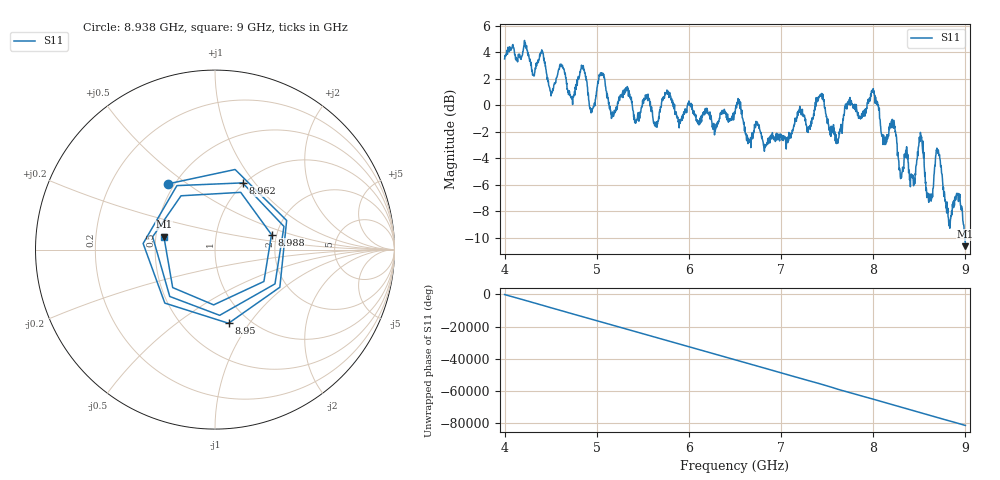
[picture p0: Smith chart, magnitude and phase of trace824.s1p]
! Created with skrf 1.8.0 (http://scikit-rf.org).
# Hz S RI R 50.0
!freq ReS11 ImS11
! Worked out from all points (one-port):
!   1601 points, 4 GHz to 9 GHz, reference 50 ohm
!   lowest |S11| = -10.6 dB at 9 GHz (marker M1), VSWR 1.83, Z = 27.6 + j4.31 ohm
!   |S11| at or under -10 dB: 8.992554 GHz to 8.996798 GHz (4.244 MHz wide, 0.0472 % of centre); 8.997074 GHz to end of sweep
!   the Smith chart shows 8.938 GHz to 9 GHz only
!   S11 on the Smith chart (normalised r, x): 8.938 GHz: 0.46, +0.43; 8.95 GHz: 0.81, -0.80; 8.962 GHz: 0.98, +0.87; 8.988 GHz: 1.88, +0.35; 9 GHz: 0.55, +0.09
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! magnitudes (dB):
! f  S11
! 4 GHz  3.5
! 4.403 GHz  4.2
! 4.506 GHz  1.0
! 4.625 GHz  3.0
! 4.731 GHz  0.5
! 4.85 GHz  2.9
! 4.944 GHz  -0.6
! 5.05 GHz  2.3
! 5.162 GHz  -0.9
! 5.25 GHz  0.6
! 5.875 GHz  -1.0
! 6.5 GHz  -0.7
! 7.125 GHz  -2.0
! 7.431 GHz  0.7
! 7.609 GHz  -2.7
! 7.75 GHz  0.0
! 8.003 GHz  0.9
! 8.112 GHz  -2.3
! 8.375 GHz  -3.7
! 8.516 GHz  -2.3
! 8.619 GHz  -6.9
! 8.703 GHz  -3.6
! 8.816 GHz  -8.5
! 8.938 GHz  -6.9
! 8.95 GHz  -7.6
! 8.962 GHz  -7.9
! 8.988 GHz  -9.7
! 9 GHz  -10.6
